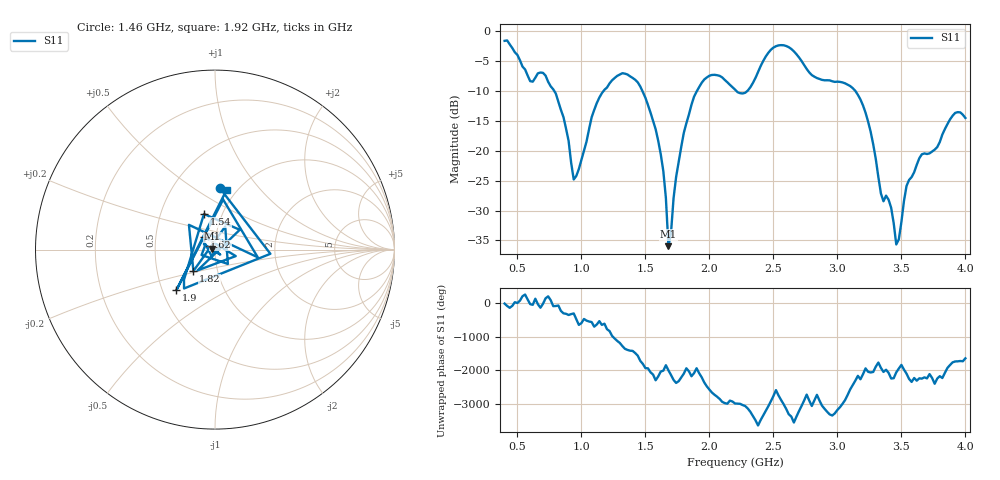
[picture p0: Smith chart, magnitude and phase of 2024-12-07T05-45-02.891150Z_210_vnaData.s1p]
!Created with skrf (http://scikit-rf.org).
# Hz S RI R 50.0
!freq ReS11 ImS11
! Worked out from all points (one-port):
!   181 points, 400 MHz to 4 GHz, reference 50 ohm
!   lowest |S11| = -36.0 dB at 1.68 GHz (marker M1), VSWR 1.03, Z = 48.5 + j0.434 ohm
!   |S11| at or under -10 dB: 787.1 MHz to 1.174 GHz (386.6 MHz wide, 39.4 % of centre); 1.476 GHz to 1.903 GHz (427.4 MHz wide, 25.3 % of centre); 3.14 GHz to end of sweep (the widest 3 of 4)
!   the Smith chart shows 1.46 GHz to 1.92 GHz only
!   S11 on the Smith chart (normalised r, x): 1.46 GHz: 0.83, +0.64; 1.54 GHz: 0.82, +0.34; 1.62 GHz: 0.88, +0.13; 1.82 GHz: 0.77, -0.19; 1.9 GHz: 0.59, -0.30; 1.92 GHz: 0.90, +0.68
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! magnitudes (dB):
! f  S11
! 400 MHz  -1.6
! 600 MHz  -8.4
! 720 MHz  -7.5
! 860 MHz  -14.4
! 940 MHz  -24.8
! 1.12 GHz  -12.1
! 1.3 GHz  -7.3
! 1.46 GHz  -9.3
! 1.54 GHz  -13.6
! 1.62 GHz  -20.6
! 1.66 GHz  -27.9
! 1.68 GHz  -36.0
! 1.76 GHz  -21.9
! 1.82 GHz  -15.4
! 1.9 GHz  -10.1
! 1.92 GHz  -9.4
! 2.2 GHz  -9.8
! 2.3 GHz  -10.0
! 2.5 GHz  -2.8
! 2.66 GHz  -3.4
! 3.1 GHz  -9.2
! 3.22 GHz  -13.7
! 3.34 GHz  -27.2
! 3.42 GHz  -29.5
! 3.46 GHz  -35.7
! 3.56 GHz  -24.9
! 3.92 GHz  -13.7
! 4 GHz  -14.5
